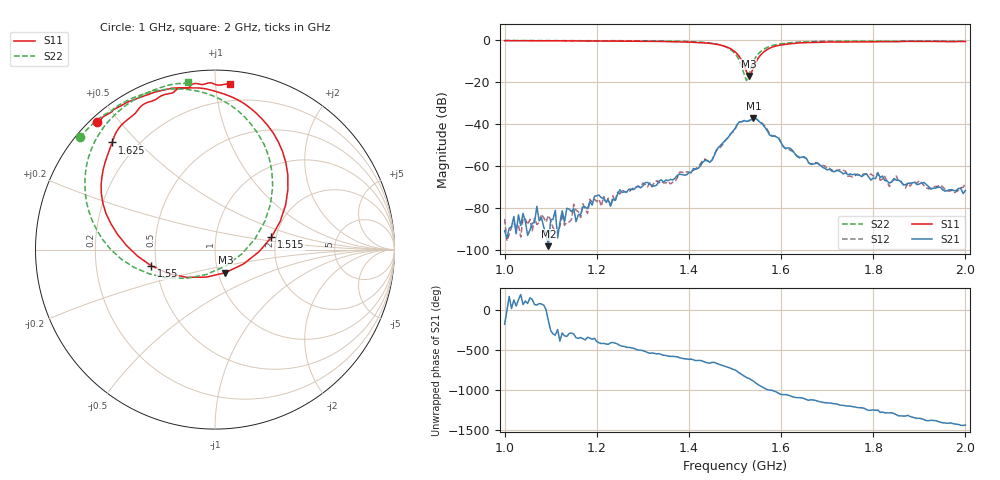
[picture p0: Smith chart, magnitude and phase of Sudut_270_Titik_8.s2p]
# Hz S RI R 50
! CMT, C1220, 16058040, 17.2.0/1
! Date: 14/08/2018 12:08:19
! Data: Format (Calibration Info)
! Freq  S11: Re/Im (F2)  S21: Re/Im (F2)  S12: Re/Im (F2)  S22: Re/Im (F2)
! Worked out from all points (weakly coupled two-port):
!   201 points, 1 GHz to 2 GHz, reference 50 ohm
!   highest |S21| = -37.18 dB at 1.54 GHz (marker M1); lowest = -98.1 dB at 1.095 GHz (marker M2)
!   lowest |S11| = -17.0 dB at 1.53 GHz (marker M3), VSWR 1.33, Z = 54.2 - j14.2 ohm
!   |S11| at or under -10 dB: 1.515 GHz to 1.547 GHz (31.38 MHz wide, 2.05 % of centre)
!   |S22| runs from -19.3 to -0.2 dB; largest |S21 - S12| = 0.00059
!   S11 on the Smith chart (normalised r, x): 1 GHz: 0.02, +0.44; 1.515 GHz: 1.89, +0.29; 1.55 GHz: 0.47, -0.10; 1.625 GHz: 0.11, +0.42; 2 GHz: 0.09, +1.09
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1e9  -0.6547 0.7097  -2.9e-05 -1.53e-06  5.36e-05 -1.39e-05  -0.7536 0.6256
1.095e9  -0.5677 0.7771  -8.5e-06 -9.18e-06  6.24e-05 2.48e-05  -0.6841 0.6967
1.17e9  -0.487 0.8216  0.000108 5.61e-06  0.000115 5.44e-05  -0.6163 0.7514
1.205e9  -0.4416 0.8387  0.000132 -0.000157  0.000105 -0.000125  -0.5801 0.7657
1.23e9  -0.4082 0.8513  7.56e-05 -8.49e-05  7.7e-05 -7.76e-05  -0.5604 0.7885
1.25e9  -0.3702 0.8646  3.58e-05 -0.000272  4.59e-05 -0.000213  -0.5356 0.8048
1.335e9  -0.2302 0.9001  -0.00044 4.36e-05  -0.000387 0.000105  -0.3998 0.8663
1.445e9  0.1467 0.8232  0.000713 0.00101  0.000801 0.000978  -0.00638 0.8548
1.5e9  0.4063 0.3353  0.00679 -0.00397  0.00643 -0.00377  0.3215 0.3511
1.515e9  0.3141 0.0685  0.000211 -0.0114  0.000473 -0.0115  0.224 0.0614
1.525e9  0.1578 -0.0808  -0.00663 -0.00955  -0.00661 -0.00974  0.0562 -0.093
1.53e9  0.0576 -0.1287  -0.00855 -0.00836  -0.00859 -0.00844  -0.05 -0.1392
1.54e9  -0.1581 -0.1548  -0.0136 -0.00226  -0.0135 -0.00229  -0.2696 -0.1573
1.55e9  -0.3546 -0.0907  -0.0102 0.00682  -0.0105 0.00639  -0.4534 -0.0978
1.625e9  -0.5728 0.5968  0.00234 -0.000285  0.00223 -0.000237  -0.703 0.5194
1.67e9  -0.4623 0.7437  0.000765 -0.000826  0.000822 -0.000821  -0.626 0.6738
1.81e9  -0.207 0.8964  -0.000681 -7.79e-05  -0.000638 0.000289  -0.4087 0.8581
1.835e9  -0.1614 0.8993  -0.000349 0.00019  -0.000297 0.000134  -0.3752 0.8746
1.85e9  -0.1449 0.9036  -0.000287 0.000366  -0.000403 0.000422  -0.3549 0.8836
1.87e9  -0.1218 0.9231  -0.000134 0.000336  -5.69e-05 0.000298  -0.3266 0.8945
1.975e9  0.0458 0.9193  0.000255 6.24e-05  0.000228 4.34e-05  -0.1786 0.9247
2e9  0.0853 0.9214  0.000264 1.69e-06  0.000369 -9.67e-05  -0.1508 0.9338
